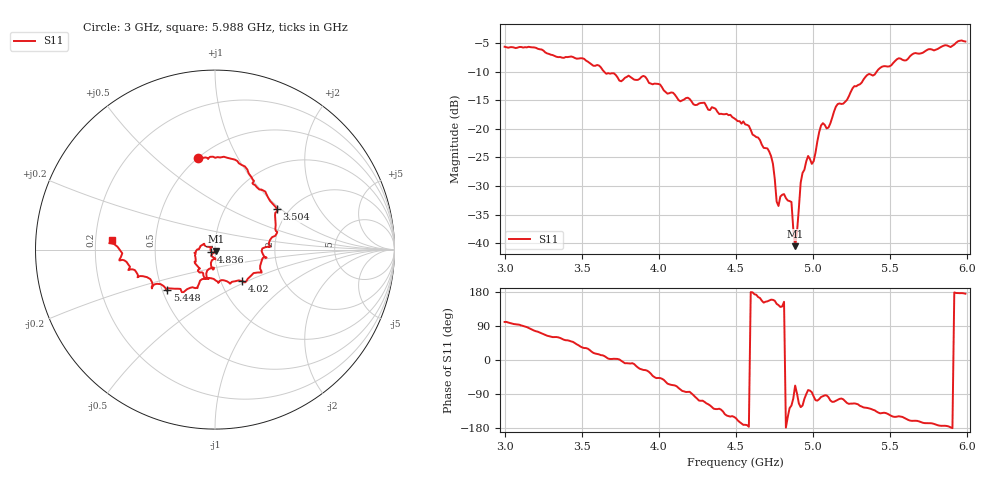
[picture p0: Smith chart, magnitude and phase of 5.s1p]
! Saved from nanovna library
# Hz S RI R 50
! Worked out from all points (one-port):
!   250 points, 3 GHz to 5.988 GHz, reference 50 ohm
!   lowest |S11| = -40.5 dB at 4.884 GHz (marker M1), VSWR 1.02, Z = 50.4 - j0.88 ohm
!   |S11| at or under -10 dB: 3.644 GHz to 5.413 GHz (1.769 GHz wide, 39.1 % of centre)
!   S11 on the Smith chart (normalised r, x): 3 GHz: 0.50, +0.70; 3.504 GHz: 1.73, +0.94; 4.02 GHz: 1.26, -0.47; 4.836 GHz: 0.96, -0.02; 5.448 GHz: 0.53, -0.27; 5.988 GHz: 0.27, +0.04
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3e9  -0.0939 0.5118
3.192e9  0.1112 0.5011
3.384e9  0.2474 0.3348
3.504e9  0.3458 0.2251
3.756e9  0.2598 -0.00893
3.9e9  0.2596 -0.1282
4.02e9  0.1501 -0.1757
4.128e9  0.0493 -0.1711
4.5e9  -0.1077 -0.0538
4.704e9  -0.061 0.0288
4.74e9  -0.0462 0.018
4.764e9  -0.0197 0.0122
4.812e9  -0.0241 0.0119
4.836e9  -0.0206 -0.0117
4.86e9  -0.0115 -0.0198
4.872e9  -0.00267 -0.013
4.884e9  0.00361 -0.00874
4.896e9  0.00037 -0.0125
4.92e9  -0.0192 -0.028
4.968e9  0.0107 -0.0569
5.004e9  -0.00556 -0.0518
5.052e9  -0.0143 -0.1059
5.1e9  -0.0144 -0.1015
5.148e9  -0.0473 -0.1486
5.244e9  -0.0887 -0.1893
5.448e9  -0.2666 -0.2251
5.616e9  -0.3784 -0.1538
5.988e9  -0.5756 0.0508
